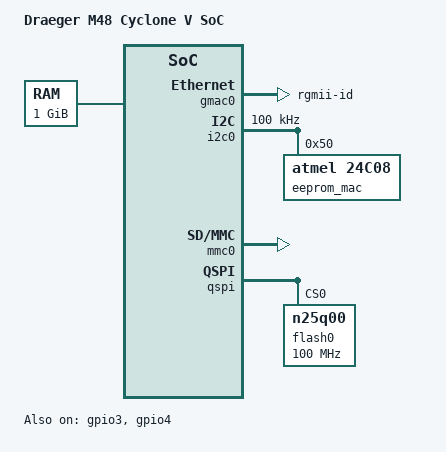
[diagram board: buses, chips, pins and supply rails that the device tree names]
// SPDX-License-Identifier: GPL-2.0+
/*
 *  (C) Copyright 2020 Draeger and Licensors, info@draeger.com
 */
#include "socfpga_cyclone5.dtsi"

/ {
	model = "Draeger M48 Cyclone V SoC";
	compatible = "draeger,M48/socfpga", "altr,socfpga-cyclone5", "altr,socfpga";

	chosen {
		bootargs = "earlyprintk";
		stdout-path = "serial0:115200n8";
	};

	memory@0 {
		name = "memory";
		device_type = "memory";
		reg = <0x0 0x40000000>;

		/* 1GB */
	};

	aliases {
	/* this allow the ethaddr uboot environmnet variable contents
	 * to be added to the gmac1 device tree blob.
	 */
		ethernet0 = &gmac0;
	};

	soc {
		gpio3: gpio@0xff202000 {
			#address-cells = <1>;
			#size-cells = <0>;
			compatible = "snps,dw-apb-gpio";
			reg = <0xff202000 0x20>;
			status = "okay";

			portd: gpio-controller@0 {
				compatible = "snps,dw-apb-gpio-port";
				gpio-controller;
				#gpio-cells = <2>;
				snps,nr-gpios = <2>;
				reg = <0>;
				bank-name = "SYNC_I";
			};
		};

		gpio4: gpio@0xff202020 {
			#address-cells = <1>;
			#size-cells = <0>;
			compatible = "snps,dw-apb-gpio";
			reg = <0xff202020 0x20>;
			status = "okay";

			porte: gpio-controller@0 {
				compatible = "snps,dw-apb-gpio-port";
				gpio-controller;
				#gpio-cells = <2>;
				snps,nr-gpios = <2>;
				reg = <0>;
				bank-name = "SYNC_O";
			};
		};
	};
};

&gmac0 {
	status = "okay";
	phy-mode = "rgmii-id";
	rxc-skew-ps = <1860>;
	rxd0-skew-ps = <0>;
	rxd1-skew-ps = <0>;
	rxd2-skew-ps = <0>;
	rxd3-skew-ps = <0>;
	rxdv-skew-ps = <0>;
	txc-skew-ps = <900>;
	txd0-skew-ps = <0>;
	txd1-skew-ps = <0>;
	txd2-skew-ps = <0>;
	txd3-skew-ps = <0>;
	txen-skew-ps = <0>;
};

&gpio0 {
	status = "okay";
};

&gpio1 {
	status = "okay";
};

&gpio2 {
	status = "okay";
};

&i2c0 {
	status = "okay";
	clock-frequency = <100000>;

	eeprom_mac: eeprom@50 {
		compatible = "atmel,24c08";
		reg = <0x50>;
		pagesize = <16>;
	};
};

&mmc0 {
	status = "okay";
};

&qspi {
	status = "okay";

	flash0: n25q00@0 {
		#address-cells = <1>;
		#size-cells = <1>;
		compatible = "n25q00";
		reg = <0>;

		/* chip select */
		spi-max-frequency = <100000000>;
		m25p,fast-read;
		cdns,page-size = <256>;
		cdns,block-size = <16>;
		cdns,read-delay = <4>;
		cdns,tshsl-ns = <50>;
		cdns,tsd2d-ns = <50>;
		cdns,tchsh-ns = <4>;
		cdns,tslch-ns = <4>;
	};
};
